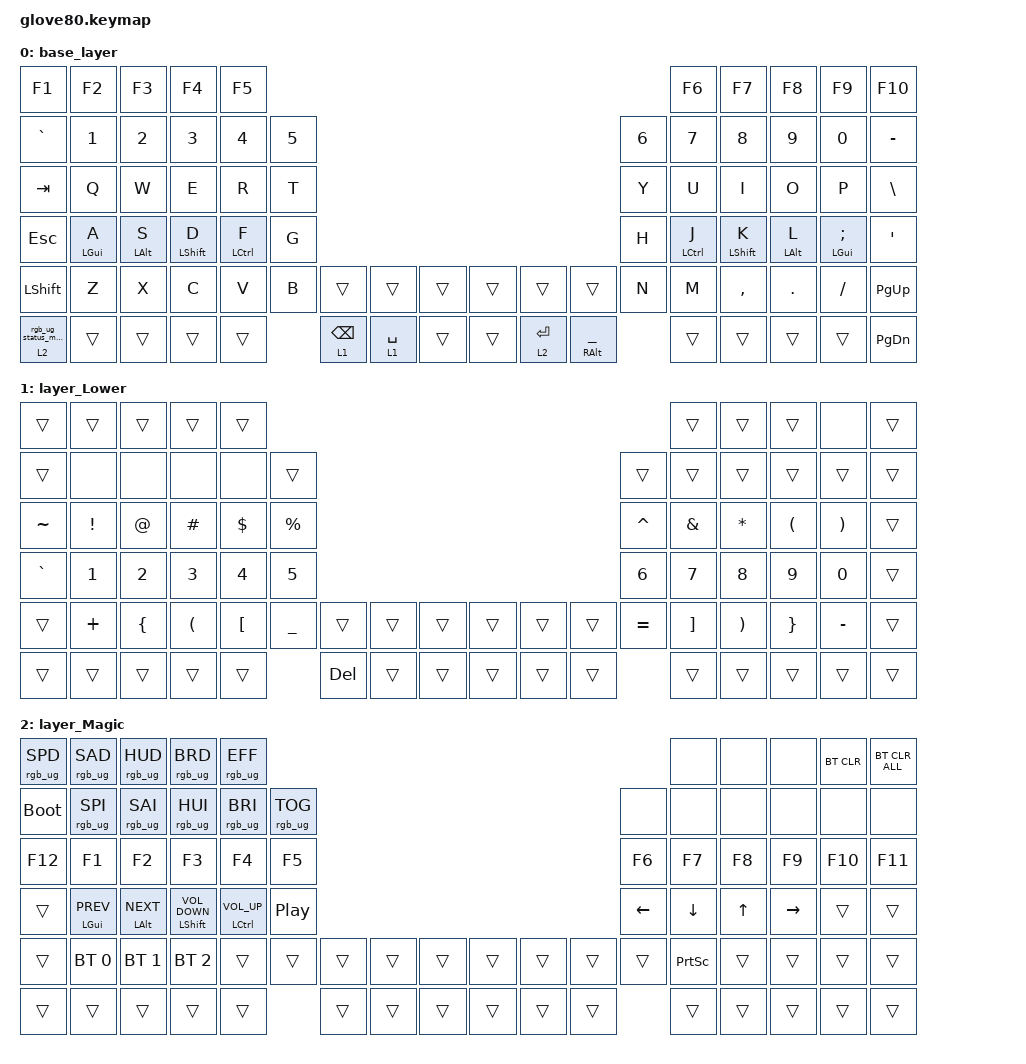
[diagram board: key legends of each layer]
/*
 * Copyright (c) 2020 The ZMK Contributors
 * Copyright (c) 2022 Innaworks Development Limited, trading as MoErgo
 *
 * SPDX-License-Identifier: MIT
 */
/* THIS FILE WAS GENERATED BY GLOVE80 LAYOUT EDITOR
 *
 * This file was generated automatically. You may or may not want to
 * edit it directly.
 */
/* Include all behaviour includes needed by system behaviors/macros */
/* Include behaviour includes needed by key binds - automatically generated */

#include <behaviors.dtsi>
#include <dt-bindings/zmk/bt.h>
#include <dt-bindings/zmk/keys.h>
#include <dt-bindings/zmk/rgb.h>

/ {
    /* Glove80 system behavior & macros */

    behaviors {
        // For the "layer" key, it'd nice to be able to use it as either a shift or a toggle.
        // Configure it as a tap dance, so the first tap (or hold) is a &mo and the second tap is a &to

        lower: tap_dance_0 {
            compatible = "zmk,behavior-tap-dance";
            label = "LAYER_TAP_DANCE";
            #binding-cells = <0>;
            tapping-term-ms = <200>;
            bindings = <&mo 1>, <&to 1>;
        };

        bhm: homerow_mods {
            compatible = "zmk,behavior-hold-tap";
            label = "HOMEROW_MODS";
            #binding-cells = <2>;
            tapping-term-ms = <200>;
            flavor = "tap-preferred";
            bindings = <&kp>, <&kp>;
        };

        shm: shift_hr_mod {
            compatible = "zmk,behavior-hold-tap";
            label = "SHIFT_HOMEROW_MODS";
            #binding-cells = <2>;
            tapping-term-ms = <120>;
            flavor = "tap-preferred";
            bindings = <&kp>, <&kp>;
        };
    };

    macros {
        rgb_ug_status_macro: rgb_ug_status_macro_0 {
            label = "RGB_UG_STATUS";
            compatible = "zmk,behavior-macro";
            #binding-cells = <0>;
            bindings = <&rgb_ug RGB_STATUS>;
        };
    };

    /* macros { */
    /*     bt_0: bt_profile_macro_0 { */
    /*         label = "BT_0"; */
    /*         compatible = "zmk,behavior-macro"; */
    /*         #binding-cells = <0>; */
    /*         bindings */
    /*             = <&out OUT_BLE>, */
    /*               <&bt BT_SEL 0>; */
    /*     }; */
    /* }; */
    /* macros { */
    /*     bt_1: bt_profile_macro_1 { */
    /*         label = "BT_1"; */
    /*         compatible = "zmk,behavior-macro"; */
    /*         #binding-cells = <0>; */
    /*         bindings */
    /*             = <&out OUT_BLE>, */
    /*               <&bt BT_SEL 1>; */
    /*     }; */
    /* }; */
    /* macros { */
    /*     bt_2: bt_profile_macro_2 { */
    /*         label = "BT_2"; */
    /*         compatible = "zmk,behavior-macro"; */
    /*         #binding-cells = <0>; */
    /*         bindings */
    /*             = <&out OUT_BLE>, */
    /*               <&bt BT_SEL 2>; */
    /*     }; */
    /* }; */
    /* macros { */
    /*     bt_3: bt_profile_macro_3 { */
    /*         label = "BT_3"; */
    /*         compatible = "zmk,behavior-macro"; */
    /*         #binding-cells = <0>; */
    /*         bindings */
    /*             = <&out OUT_BLE>, */
    /*               <&bt BT_SEL 3>; */
    /*     }; */
    /* }; */

    magic: magic_hold_tap {
        compatible = "zmk,behavior-hold-tap";
        label = "MAGIC_HOLD_TAP";
        #binding-cells = <2>;
        flavor = "tap-preferred";
        tapping-term-ms = <200>;
        bindings = <&mo>, <&rgb_ug_status_macro>;
    };

    /* Custom Defined Behaviors */
    /* Automatically generated keymap */

    keymap {
        compatible = "zmk,keymap";

        base_layer {
            bindings = <
&kp F1          &kp F2       &kp F3           &kp F4             &kp F5                                                                                                              &kp F6               &kp F7             &kp F8           &kp F9              &kp F10
&kp GRAVE       &kp N1       &kp N2           &kp N3             &kp N4        &kp N5                                                                                        &kp N6  &kp N7               &kp N8             &kp N9           &kp N0              &kp MINUS
&kp TAB         &kp Q        &kp W            &kp E              &kp R         &kp T                                                                                         &kp Y   &kp U                &kp I              &kp O            &kp P               &kp BACKSLASH
&kp ESC         &bhm LGUI A  &bhm LEFT_ALT S  &bhm LEFT_SHIFT D  &bhm LCTRL F  &kp G                                                                                         &kp H   &bhm LEFT_CONTROL J  &bhm LEFT_SHIFT K  &bhm LEFT_ALT L  &bhm LEFT_GUI SEMI  &kp SQT
&kp LEFT_SHIFT  &kp Z        &kp X            &kp C              &kp V         &kp B   &trans           &trans       &trans  &trans  &trans       &trans                     &kp N   &kp M                &kp COMMA          &kp DOT          &kp FSLH            &kp PAGE_UP
&magic 2 0      &trans       &trans           &trans             &trans                &lt 1 BACKSPACE  &lt 1 SPACE  &trans  &trans  &lt 2 ENTER  &bhm RIGHT_ALT UNDERSCORE          &trans               &trans             &trans           &trans              &kp PAGE_DOWN
            >;
        };

        layer_Lower {
            bindings = <
&trans     &trans    &trans          &trans                &trans                                                                                   &trans    &trans                 &trans           &none      &trans
&trans     &none     &none           &none                 &none             &trans                                                      &trans     &trans    &trans                 &trans           &trans     &trans
&kp TILDE  &kp EXCL  &kp AT          &kp HASH              &kp DLLR          &kp PRCNT                                                   &kp CARET  &kp AMPS  &kp ASTERISK           &kp LPAR         &kp RPAR   &trans
&kp GRAVE  &kp N1    &kp N2          &kp N3                &kp N4            &kp N5                                                      &kp N6     &kp N7    &kp N8                 &kp N9           &kp N0     &trans
&trans     &kp PLUS  &kp LEFT_BRACE  &kp LEFT_PARENTHESIS  &kp LEFT_BRACKET  &kp UNDER  &trans   &trans  &trans  &trans  &trans  &trans  &kp EQUAL  &kp RBKT  &kp RIGHT_PARENTHESIS  &kp RIGHT_BRACE  &kp MINUS  &trans
&trans     &trans    &trans          &trans                &trans                       &kp DEL  &trans  &trans  &trans  &trans  &trans             &trans    &trans                 &trans           &trans     &trans
            >;
        };

        layer_Magic {
            bindings = <
&rgb_ug RGB_SPD  &rgb_ug RGB_SAD       &rgb_ug RGB_HUD       &rgb_ug RGB_BRD                &rgb_ug RGB_EFF                                                                                 &none            &none   &none      &bt BT_CLR  &bt BT_CLR_ALL
&bootloader      &rgb_ug RGB_SPI       &rgb_ug RGB_SAI       &rgb_ug RGB_HUI                &rgb_ug RGB_BRI      &rgb_ug RGB_TOG                                                  &none     &none            &none   &none      &none       &none
&kp F12          &kp F1                &kp F2                &kp F3                         &kp F4               &kp F5                                                           &kp F6    &kp F7           &kp F8  &kp F9     &kp F10     &kp F11
&trans           &bhm LEFT_GUI C_PREV  &bhm LEFT_ALT C_NEXT  &bhm LEFT_SHIFT C_VOLUME_DOWN  &bhm LCTRL C_VOL_UP  &kp C_PP                                                         &kp LEFT  &kp DOWN         &kp UP  &kp RIGHT  &trans      &trans
&trans           &bt BT_SEL 0          &bt BT_SEL 1          &bt BT_SEL 2                   &trans               &trans           &trans  &trans  &trans  &trans  &trans  &trans  &trans    &kp PRINTSCREEN  &trans  &trans     &trans      &trans
&trans           &trans                &trans                &trans                         &trans                                &trans  &trans  &trans  &trans  &trans  &trans            &trans           &trans  &trans     &trans      &trans
            >;
        };
    };
};
